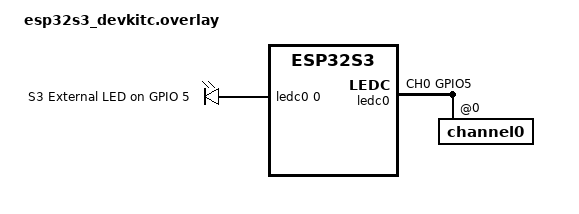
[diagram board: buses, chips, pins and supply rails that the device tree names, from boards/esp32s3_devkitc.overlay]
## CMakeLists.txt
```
cmake_minimum_required(VERSION 3.20.0)

set(DTC_OVERLAY_FILE boards/esp32s3_devkitc.overlay)
set(BOARD esp32s3_devkitc/esp32s3/procpu)

find_package(Zephyr REQUIRED HINTS $ENV{ZEPHYR_BASE})
project(lecture3)

target_sources(app PRIVATE src/main.c)
```

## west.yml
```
manifest:
  version: 1.0

  projects:
    - name: zephyr
      url: https://github.com/zephyrproject-rtos/zephyr
      revision: v4.4.0
      import:
        name-allowlist:
          - cmsis_6
          - hal_espressif
          - hal_stm32
          - hal_nordic
        path-prefix: deps
```

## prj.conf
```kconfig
CONFIG_GPIO=y
CONFIG_LOG=y
CONFIG_PWM=y


# My custom LED subsystem
CONFIG_MY_LED_SUBSYSTEM=y
CONFIG_BLINK_TIME_500MS=y
CONFIG_LED_ADVANCED_SETTINGS=y
CONFIG_LED_BRIGHTNESS=85
CONFIG_LED_FADE_MS=1000
```

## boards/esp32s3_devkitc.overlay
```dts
#include <zephyr/dt-bindings/pwm/pwm.h>
#include <zephyr/dt-bindings/pinctrl/esp32s3-pinctrl.h>

/ {
    aliases {
        pwm-led0 = &pwm_led_0;
    };

    pwmleds {
        compatible = "pwm-leds";
        pwm_led_0: pwm_led_0 {
            pwms = <&ledc0 0 5000 PWM_POLARITY_NORMAL>;
            label = "S3 External LED on GPIO 5";
        };
    };
};

&pinctrl {
    ledc0_default: ledc0_default {
        group1 {
            pinmux = <LEDC_CH0_GPIO5>;
            output-enable;
        };
    };
};

&ledc0 {
    pinctrl-0 = <&ledc0_default>;
    pinctrl-names = "default";
    status = "okay";
    #address-cells = <1>;
    #size-cells = <0>;

    channel0@0 {
        reg = <0>;
        timer = <0>;
    };
};
```

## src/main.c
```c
#include <zephyr/kernel.h>
#include <zephyr/drivers/pwm.h>
#include <zephyr/logging/log.h>

LOG_MODULE_REGISTER(main, LOG_LEVEL_INF);

static const struct pwm_dt_spec led_pwm = PWM_DT_SPEC_GET(DT_ALIAS(pwm_led0));

int main(void) {
	if (!IS_ENABLED(CONFIG_MY_LED_SUBSYSTEM)) {
		return 0;
	}

	if (!pwm_is_ready_dt(&led_pwm)) {
		LOG_ERR("PWM device on GPIO 45 not ready!");
		return 0;
	}

	const uint32_t brightness = CONFIG_LED_BRIGHTNESS;
	const uint32_t fade_ms = CONFIG_LED_FADE_MS;
	const uint32_t interval = CONFIG_BLINK_TIME_MS;

	LOG_INF("LED Subsystem Live: %d%% brightness, %dms fade, %dms interval", 
			brightness, fade_ms, interval);

	while (1) {
		if (fade_ms > 0) {
			for (int i = 0; i <= brightness; i++) {
				pwm_set_pulse_dt(&led_pwm, (led_pwm.period * i) / 100);
				k_msleep(fade_ms / brightness);
			}
		} else {
			pwm_set_pulse_dt(&led_pwm, (led_pwm.period * brightness) / 100);
		}

		k_msleep(interval);

		if (fade_ms > 0) {
			for (int i = brightness; i >= 0; i--) {
				pwm_set_pulse_dt(&led_pwm, (led_pwm.period * i) / 100);
				k_msleep(fade_ms / brightness);
			}
		} else {
			pwm_set_pulse_dt(&led_pwm, 0);
		}

		k_msleep(interval);
	}
	return 0;
}
```
